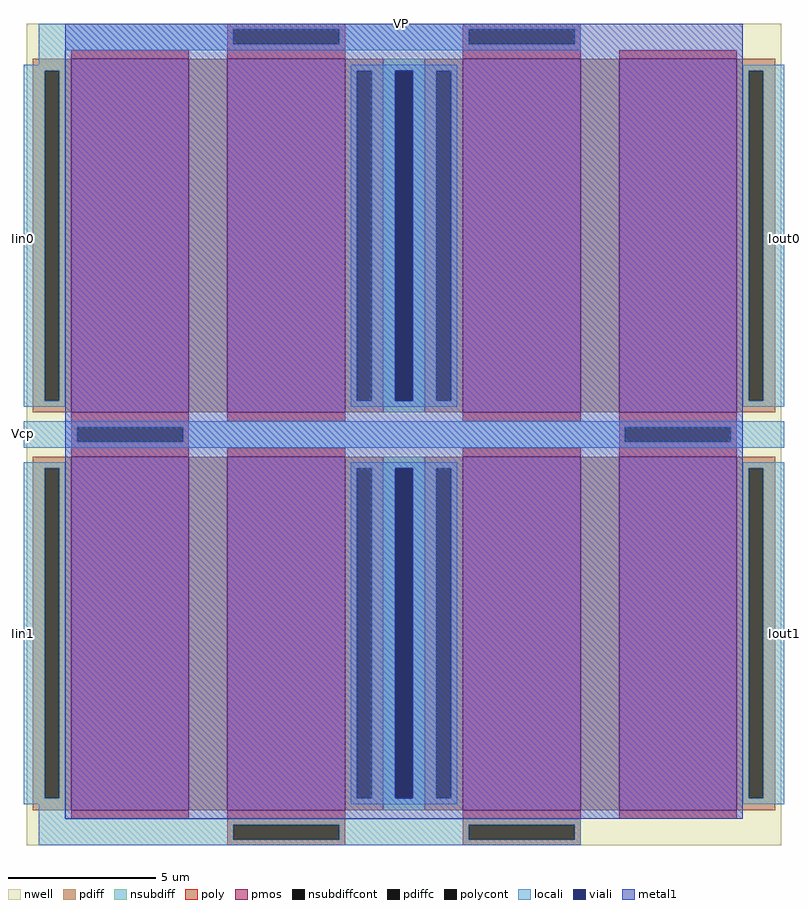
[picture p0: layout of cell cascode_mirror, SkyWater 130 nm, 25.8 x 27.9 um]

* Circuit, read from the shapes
.subckt cascode_mirror Vcp Iin0 Iin1 VP Iout0 Iout1
XM1 n1 Vcp Iin1 VP sky130_fd_pr__pfet_01v8 w=12 l=4
XM2 n2 Vcp Iin0 VP sky130_fd_pr__pfet_01v8 w=12 l=4
XM3 VP Iin1 n1 VP sky130_fd_pr__pfet_01v8 w=12 l=4
XM4 VP Iin0 n2 VP sky130_fd_pr__pfet_01v8 w=12 l=4
XM5 n3 Iin1 VP VP sky130_fd_pr__pfet_01v8 w=12 l=4
XM6 n4 Iin0 VP VP sky130_fd_pr__pfet_01v8 w=12 l=4
XM7 Iout1 Vcp n3 VP sky130_fd_pr__pfet_01v8 w=12 l=4
XM8 Iout0 Vcp n4 VP sky130_fd_pr__pfet_01v8 w=12 l=4
.ends

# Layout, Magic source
magic
tech sky130A
magscale 1 2
<< nwell >>
rect -1360 -2940 3760 2640
<< pmos >>
rect -1060 0 -260 2400
rect 0 0 800 2400
rect 1600 0 2400 2400
rect 2660 0 3460 2400
rect -1060 -2700 -260 -300
rect 0 -2700 800 -300
rect 1600 -2700 2400 -300
rect 2660 -2700 3460 -300
<< pdiff >>
rect -1320 2320 -1060 2400
rect -1320 80 -1240 2320
rect -1140 80 -1060 2320
rect -1320 0 -1060 80
rect -260 0 0 2400
rect 800 2320 1060 2400
rect 1340 2320 1600 2400
rect 800 80 880 2320
rect 980 80 1060 2320
rect 1340 80 1420 2320
rect 1520 80 1600 2320
rect 800 0 1060 80
rect 1340 0 1600 80
rect 2400 0 2660 2400
rect 3460 2320 3720 2400
rect 3460 80 3540 2320
rect 3640 80 3720 2320
rect 3460 0 3720 80
rect -1320 -380 -1060 -300
rect -1320 -2620 -1240 -380
rect -1140 -2620 -1060 -380
rect -1320 -2700 -1060 -2620
rect -260 -2700 0 -300
rect 800 -380 1060 -300
rect 1340 -380 1600 -300
rect 800 -2620 880 -380
rect 980 -2620 1060 -380
rect 1340 -2620 1420 -380
rect 1520 -2620 1600 -380
rect 800 -2700 1060 -2620
rect 1340 -2700 1600 -2620
rect 2400 -2700 2660 -300
rect 3460 -380 3720 -300
rect 3460 -2620 3540 -380
rect 3640 -2620 3720 -380
rect 3460 -2700 3720 -2620
<< pdiffc >>
rect -1240 80 -1140 2320
rect 880 80 980 2320
rect 1420 80 1520 2320
rect 3540 80 3640 2320
rect -1240 -2620 -1140 -380
rect 880 -2620 980 -380
rect 1420 -2620 1520 -380
rect 3540 -2620 3640 -380
<< nsubdiff >>
rect 1060 2320 1340 2400
rect 1060 80 1140 2320
rect 1260 80 1340 2320
rect 1060 0 1340 80
rect 1060 -380 1340 -300
rect 1060 -2620 1140 -380
rect 1260 -2620 1340 -380
rect 1060 -2700 1340 -2620
<< nsubdiffcont >>
rect 1140 80 1260 2320
rect 1140 -2620 1260 -380
<< poly >>
rect 0 2600 800 2640
rect 0 2500 40 2600
rect 760 2500 800 2600
rect -1060 2400 -260 2460
rect 0 2400 800 2500
rect 1600 2600 2400 2640
rect 1600 2500 1640 2600
rect 2360 2500 2400 2600
rect 1600 2400 2400 2500
rect 2660 2400 3460 2460
rect -1060 -100 -260 0
rect 0 -60 800 0
rect 1600 -60 2400 0
rect -1060 -200 -1020 -100
rect -300 -200 -260 -100
rect -1060 -300 -260 -200
rect 2660 -100 3460 0
rect 2660 -200 2700 -100
rect 3420 -200 3460 -100
rect 0 -300 800 -240
rect 1600 -300 2400 -240
rect 2660 -300 3460 -200
rect -1060 -2760 -260 -2700
rect 0 -2800 800 -2700
rect 0 -2900 40 -2800
rect 760 -2900 800 -2800
rect 0 -2940 800 -2900
rect 1600 -2800 2400 -2700
rect 2660 -2760 3460 -2700
rect 1600 -2900 1640 -2800
rect 2360 -2900 2400 -2800
rect 1600 -2940 2400 -2900
<< polycont >>
rect 40 2500 760 2600
rect 1640 2500 2360 2600
rect -1020 -200 -300 -100
rect 2700 -200 3420 -100
rect 40 -2900 760 -2800
rect 1640 -2900 2360 -2800
<< locali >>
rect -1280 2600 2400 2640
rect -1280 2500 40 2600
rect 760 2500 1640 2600
rect 2360 2500 2400 2600
rect -1280 2460 2400 2500
rect -1280 2360 -1100 2460
rect -1380 2320 -1100 2360
rect -1380 80 -1240 2320
rect -1140 80 -1100 2320
rect -1380 40 -1100 80
rect 840 2320 1560 2360
rect 840 80 880 2320
rect 980 80 1140 2320
rect 1260 80 1420 2320
rect 1520 80 1560 2320
rect 840 40 1560 80
rect 3500 2320 3780 2360
rect 3500 80 3540 2320
rect 3640 80 3780 2320
rect 3500 40 3780 80
rect -1380 -100 3780 -60
rect -1380 -200 -1020 -100
rect -300 -200 2700 -100
rect 3420 -200 3780 -100
rect -1380 -240 3780 -200
rect -1380 -380 -1100 -340
rect -1380 -2620 -1240 -380
rect -1140 -2620 -1100 -380
rect -1380 -2660 -1100 -2620
rect 840 -380 1560 -340
rect 840 -2620 880 -380
rect 980 -2620 1140 -380
rect 1260 -2620 1420 -380
rect 1520 -2620 1560 -380
rect 840 -2660 1560 -2620
rect 3500 -380 3780 -340
rect 3500 -2620 3540 -380
rect 3640 -2620 3780 -380
rect 3500 -2660 3780 -2620
rect -1280 -2760 -1100 -2660
rect -1280 -2800 2400 -2760
rect -1280 -2900 40 -2800
rect 760 -2900 1640 -2800
rect 2360 -2900 2400 -2800
rect -1280 -2940 2400 -2900
<< viali >>
rect 1140 80 1260 2320
rect 1140 -2620 1260 -380
<< metal1 >>
rect -1100 2320 3500 2640
rect -1100 80 1140 2320
rect 1260 80 3500 2320
rect -1100 -380 3500 80
rect -1100 -2620 1140 -380
rect 1260 -2620 3500 -380
rect -1100 -2760 3500 -2620
<< labels >>
rlabel locali -1380 -140 -1380 -140 7 Vcp
port 1 w
rlabel locali -1380 -1500 -1380 -1500 7 Iin1
port 3 w
rlabel locali -1380 1180 -1380 1180 7 Iin0
port 2 w
rlabel metal1 1180 2640 1180 2640 1 VP
port 4 n
rlabel locali 3780 1180 3780 1180 3 Iout0
port 5 e
rlabel locali 3780 -1500 3780 -1500 3 Iout1
port 6 e
<< end >>
